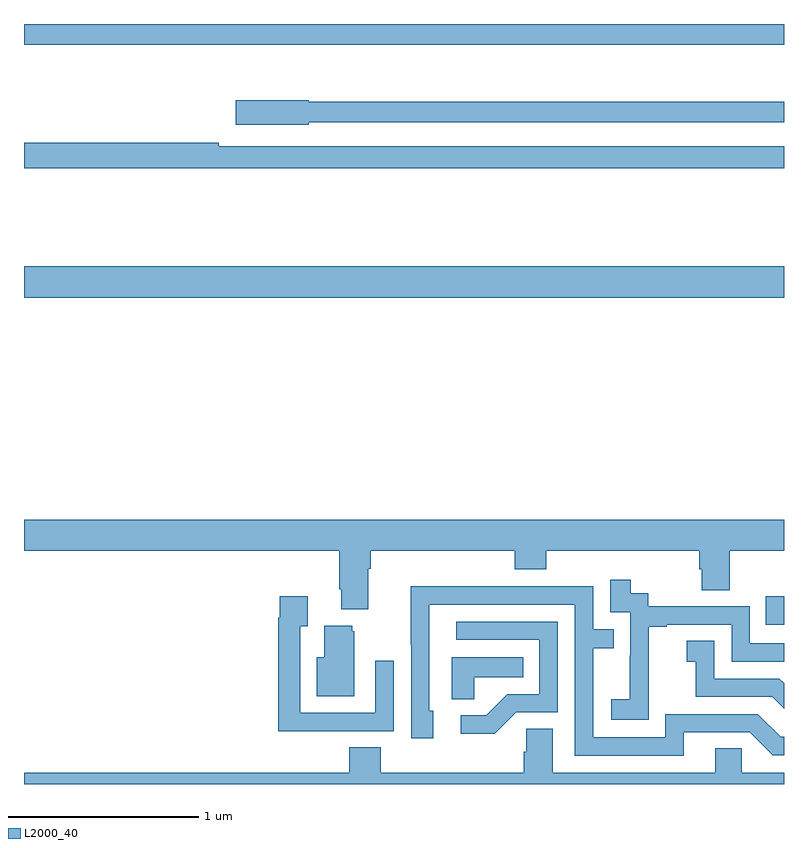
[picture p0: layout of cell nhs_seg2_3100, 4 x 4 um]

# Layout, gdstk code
import gdstk
lib = gdstk.Library(unit=1e-6, precision=1e-09)
def R(c, l, rs):  # rectangles x0, y0, x1, y1
    for r in rs: c.add(gdstk.rectangle(r[:2], r[2:], *l))
def P(c, l, *ps):  # polygons
    for p in ps: c.add(gdstk.Polygon(p, *l))
L2000_40 = (2000, 40)

nhs_seg2_3100 = lib.new_cell('nhs_seg2_3100')
R(nhs_seg2_3100, L2000_40, [(278.905,588.639,279,588.787), (275,590.36,279,590.524), (275,591.692,279,591.8)])
P(nhs_seg2_3100, L2000_40, [(276.498,591.282),(279,591.282),(279,591.391),(276.498,591.391),(276.498,591.399),(276.114,591.399),(276.114,591.269),(276.498,591.269)],
  [(279,591.156),(276.026,591.156),(276.026,591.176),(275,591.176),(275,591.04),(279,591.04)],
  [(276.811,588.932),(276.824,588.932),(276.824,589.028),(277.583,589.028),(277.583,588.929),(277.748,588.929),(277.748,589.028),(278.555,589.028),(278.555,588.93),(278.567,588.93),(278.567,588.82),(278.715,588.82),(278.715,589.028),(279,589.028),(279,589.192),(275,589.192),(275,589.028),(276.659,589.028),(276.659,588.826),(276.671,588.826),(276.671,588.719),(276.811,588.719)],
  [(278.289,588.343),(278.288,588.343),(278.288,588.627),(278.383,588.627),(278.383,588.639),(278.724,588.639),(278.724,588.444),(279,588.444),(279,588.54),(278.82,588.54),(278.82,588.735),(278.286,588.735),(278.286,588.804),(278.194,588.804),(278.194,588.874),(278.085,588.874),(278.085,588.705),(278.19,588.705),(278.19,588.476),(278.189,588.476),(278.189,588.247),(278.091,588.247),(278.091,588.137),(278.289,588.137)],
  [(278.473,588.072),(278.82,588.072),(278.94,587.952),(279,587.952),(279,588.048),(278.982,588.048),(278.862,588.168),(278.376,588.168),(278.376,588.045),(277.995,588.045),(277.995,588.514),(278.105,588.514),(278.105,588.615),(277.995,588.615),(277.995,588.84),(277.499,588.84),(277.499,588.842),(277.036,588.842),(277.036,588.535),(277.038,588.535),(277.038,588.042),(277.153,588.042),(277.153,588.186),(277.134,588.186),(277.134,588.744),(277.899,588.744),(277.899,587.949),(278.473,587.949)],
  [(276.629,588.078),(276.945,588.078),(276.945,588.448),(276.849,588.448),(276.849,588.174),(276.453,588.174),(276.453,588.631),(276.493,588.631),(276.493,588.787),(276.345,588.787),(276.345,588.674),(276.337,588.674),(276.337,588.077),(276.629,588.077)],
  [(277.59,588.177),(277.809,588.177),(277.809,588.654),(277.275,588.654),(277.275,588.558),(277.713,588.558),(277.713,588.273),(277.544,588.273),(277.433,588.162),(277.299,588.162),(277.299,588.065),(277.477,588.065)],
  [(276.739,588.603),(276.728,588.603),(276.728,588.634),(276.581,588.634),(276.581,588.466),(276.542,588.466),(276.542,588.263),(276.739,588.263)],
  [(279,588.33),(278.976,588.354),(278.634,588.354),(278.634,588.553),(278.487,588.553),(278.487,588.443),(278.536,588.443),(278.536,588.258),(278.939,588.258),(279,588.197)],
  [(277.371,588.362),(277.628,588.362),(277.628,588.466),(277.25,588.466),(277.25,588.247),(277.371,588.247)],
  [(279,587.86),(278.778,587.86),(278.778,587.987),(278.639,587.987),(278.639,587.86),(277.783,587.86),(277.783,588.092),(277.644,588.092),(277.644,587.969),(277.631,587.969),(277.631,587.86),(276.878,587.86),(276.878,587.993),(276.713,587.993),(276.713,587.86),(275,587.86),(275,587.8),(279,587.8)])

lib.write_gds('nhs_seg2_3100.gds')
